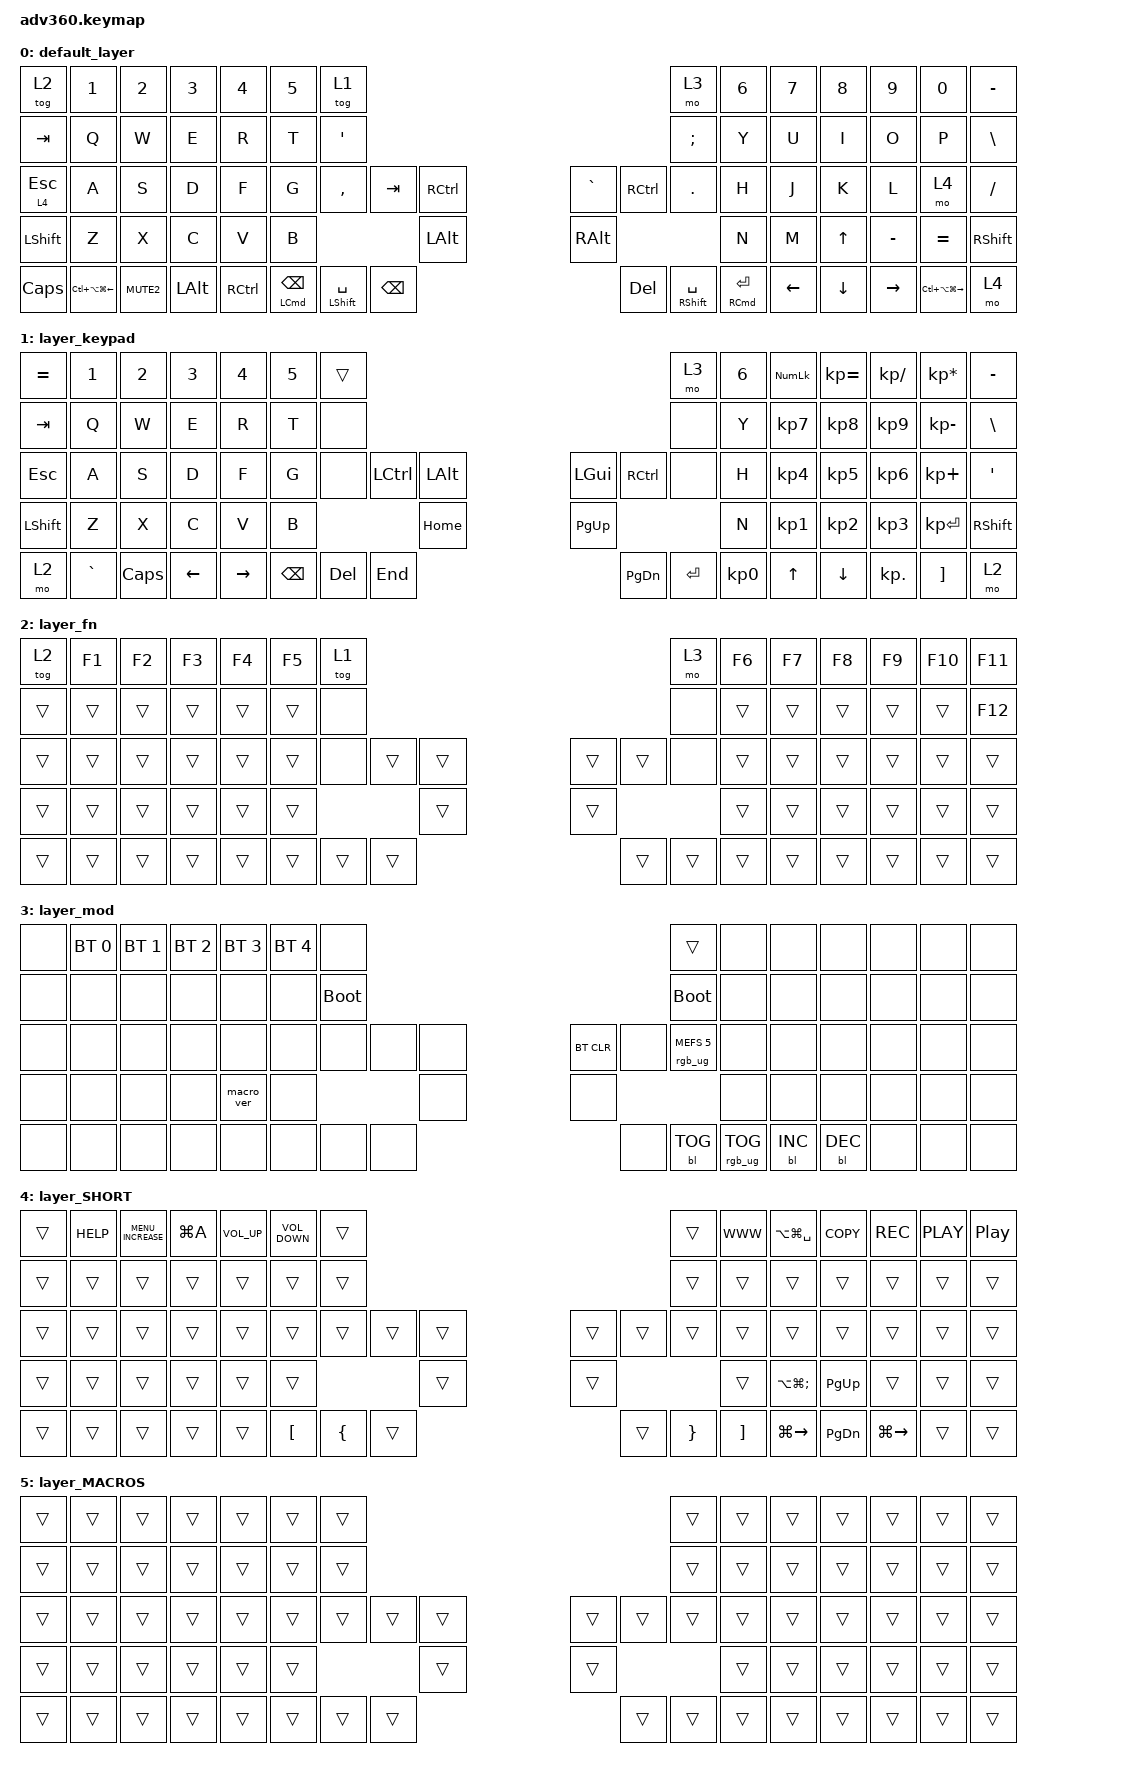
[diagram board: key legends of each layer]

/*
 * Copyright (c) 2020 The ZMK Contributors
 *
 * SPDX-License-Identifier: MIT
 */


/* THIS FILE WAS GENERATED!
 *
 * This file was generated automatically. You may or may not want to
 * edit it directly.
 */

#include <behaviors.dtsi>
#include <dt-bindings/zmk/keys.h>
#include <dt-bindings/zmk/bt.h>
#include <dt-bindings/zmk/rgb.h>
#include <dt-bindings/zmk/backlight.h>

/ {
  behaviors {
    #include "macros.dtsi"
    #include "version.dtsi"

    hm: homerow_mods {
        compatible = "zmk,behavior-hold-tap";
        label = "HOMEROW_MODS";
        #binding-cells = <2>;
        tapping-term-ms = <200>;
        quick_tap_ms = <175>;
        flavor = "tap-preferred";
        bindings = <&kp>, <&kp>;
    };
  };

    keymap {
        compatible = "zmk,keymap";


        default_layer {
            bindings = <
    &tog 2                &kp N1       &kp N2        &kp N3     &kp N4  &kp N5                                &tog 1                                                                                                               &mo 3  &kp N6    &kp N7        &kp N8     &kp N9                 &kp N0  &kp MINUS
   &kp TAB                 &kp Q        &kp W         &kp E      &kp R   &kp T                      &kp SINGLE_QUOTE                                                                                                       &kp SEMICOLON   &kp Y     &kp U         &kp I      &kp O                  &kp P   &kp BSLH
 &lt 4 ESC                 &kp A        &kp S         &kp D      &kp F   &kp G                             &kp COMMA               &kp TAB      &kp RCTRL                      &kp GRAVE              &kp RCTRL                  &kp DOT   &kp H     &kp J         &kp K      &kp L                  &mo 4  &kp SLASH
 &kp LSHFT                 &kp Z        &kp X         &kp C      &kp V   &kp B                                                               &kp LEFT_ALT                  &kp RIGHT_ALT                                                   &kp N     &kp M  &kp UP_ARROW  &kp MINUS              &kp EQUAL  &kp RSHFT
  &kp CAPS  &kp LC(LA(LG(LEFT)))  &kp K_MUTE2  &kp LEFT_ALT  &kp RCTRL                    &mt LEFT_COMMAND BACKSPACE  &mt LEFT_SHIFT SPACE  &kp BACKSPACE                     &kp DELETE  &mt RIGHT_SHIFT SPACE  &mt RIGHT_COMMAND ENTER          &kp LEFT      &kp DOWN  &kp RIGHT  &kp LC(LA(LG(RIGHT)))      &mo 4
            >;
        };

        layer_keypad {
            bindings = <
 &kp EQUAL     &kp N1    &kp N2    &kp N3     &kp N4  &kp N5              &trans                                                                 &mo 3  &kp N6  &kp KP_NUM  &kp KP_EQUAL  &kp KP_DIVIDE  &kp KP_MULTIPLY  &kp MINUS
   &kp TAB      &kp Q     &kp W     &kp E      &kp R   &kp T               &none                                                                 &none   &kp Y   &kp KP_N7     &kp KP_N8      &kp KP_N9     &kp KP_MINUS   &kp BSLH
   &kp ESC      &kp A     &kp S     &kp D      &kp F   &kp G               &none  &kp LCTRL  &kp LALT                   &kp LGUI  &kp RCTRL      &none   &kp H   &kp KP_N4     &kp KP_N5      &kp KP_N6      &kp KP_PLUS    &kp SQT
 &kp LSHFT      &kp Z     &kp X     &kp C      &kp V   &kp B                                 &kp HOME                  &kp PG_UP                         &kp N   &kp KP_N1     &kp KP_N2      &kp KP_N3     &kp KP_ENTER  &kp RSHFT
     &mo 2  &kp GRAVE  &kp CAPS  &kp LEFT  &kp RIGHT                    &kp BSPC    &kp DEL   &kp END                  &kp PG_DN  &kp ENTER  &kp KP_N0              &kp UP      &kp DOWN     &kp KP_DOT         &kp RBKT      &mo 2
            >;
        };

        layer_fn {
            bindings = <
 &tog 2  &kp F1  &kp F2  &kp F3  &kp F4  &kp F5            &tog 1                                                   &mo 3  &kp F6  &kp F7  &kp F8  &kp F9  &kp F10  &kp F11
 &trans  &trans  &trans  &trans  &trans  &trans             &none                                                   &none  &trans  &trans  &trans  &trans   &trans  &kp F12
 &trans  &trans  &trans  &trans  &trans  &trans             &none  &trans  &trans                  &trans  &trans   &none  &trans  &trans  &trans  &trans   &trans   &trans
 &trans  &trans  &trans  &trans  &trans  &trans                            &trans                  &trans                  &trans  &trans  &trans  &trans   &trans   &trans
 &trans  &trans  &trans  &trans  &trans                    &trans  &trans  &trans                  &trans  &trans  &trans          &trans  &trans  &trans   &trans   &trans
            >;
        };

        layer_mod {
            bindings = <
  &none  &bt BT_SEL 0  &bt BT_SEL 1  &bt BT_SEL 2  &bt BT_SEL 3  &bt BT_SEL 4                  &none                                                                          &trans   &none       &none       &none   &none   &none   &none
  &none         &none         &none         &none         &none         &none            &bootloader                                                                     &bootloader   &none       &none       &none   &none   &none   &none
  &none         &none         &none         &none         &none         &none                  &none   &none   &none                  &bt BT_CLR       &none  &rgb_ug RGB_MEFS_CMD 5   &none       &none       &none   &none   &none   &none
  &none         &none         &none         &none    &macro_ver         &none                                  &none                       &none                                       &none       &none       &none   &none   &none   &none
  &none         &none         &none         &none         &none                                &none   &none   &none                       &none  &bl BL_TOG         &rgb_ug RGB_TOG          &bl BL_INC  &bl BL_DEC   &none   &none   &none
            >;
        };

        layer_SHORT {
            bindings = <
 &trans  &kp C_HELP  &kp C_MENU_INCREASE  &kp LG(A)  &kp K_VOLUME_UP  &kp K_VOLUME_DOWN                      &trans                                                                              &trans  &kp K_WWW      &kp LA(LG(SPACE))     &kp K_COPY      &kp C_REC  &kp C_PLAY  &kp C_PP
 &trans      &trans               &trans     &trans           &trans             &trans                      &trans                                                                              &trans     &trans                 &trans         &trans         &trans      &trans    &trans
 &trans      &trans               &trans     &trans           &trans             &trans                      &trans          &trans  &trans                  &trans           &trans             &trans     &trans                 &trans         &trans         &trans      &trans    &trans
 &trans      &trans               &trans     &trans           &trans             &trans                                              &trans                  &trans                                         &trans  &kp LA(LG(SEMICOLON))    &kp PAGE_UP         &trans      &trans    &trans
 &trans      &trans               &trans     &trans           &trans                               &kp LEFT_BRACKET  &kp LEFT_BRACE  &trans                  &trans  &kp RIGHT_BRACE  &kp RIGHT_BRACKET                     &kp LG(RIGHT)  &kp PAGE_DOWN  &kp LG(RIGHT)      &trans    &trans
            >;
        };

        layer_MACROS {
            bindings = <
 &trans  &trans  &trans  &trans  &trans  &trans            &trans                                                  &trans  &trans  &trans  &trans  &trans  &trans  &trans
 &trans  &trans  &trans  &trans  &trans  &trans            &trans                                                  &trans  &trans  &trans  &trans  &trans  &trans  &trans
 &trans  &trans  &trans  &trans  &trans  &trans            &trans  &trans  &trans                  &trans  &trans  &trans  &trans  &trans  &trans  &trans  &trans  &trans
 &trans  &trans  &trans  &trans  &trans  &trans                            &trans                  &trans                  &trans  &trans  &trans  &trans  &trans  &trans
 &trans  &trans  &trans  &trans  &trans                    &trans  &trans  &trans                  &trans  &trans  &trans          &trans  &trans  &trans  &trans  &trans
            >;
        };

    };
};
